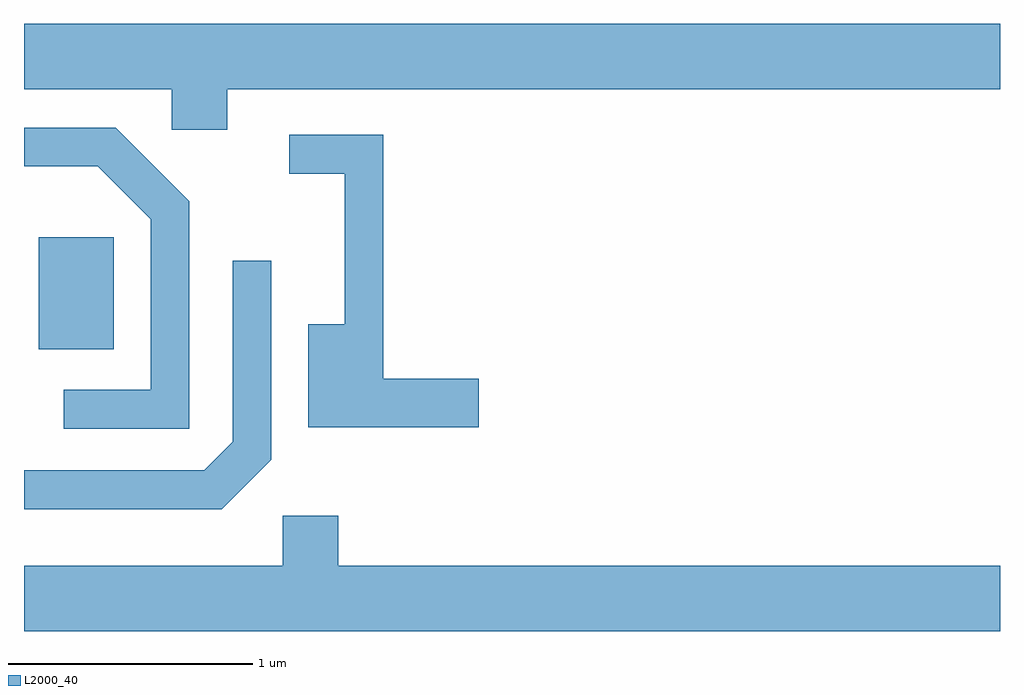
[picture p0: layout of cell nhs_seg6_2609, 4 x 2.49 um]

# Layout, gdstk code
import gdstk
lib = gdstk.Library(unit=1e-6, precision=1e-09)
def R(c, l, rs):  # rectangles x0, y0, x1, y1
    for r in rs: c.add(gdstk.rectangle(r[:2], r[2:], *l))
def P(c, l, *ps):  # polygons
    for p in ps: c.add(gdstk.Polygon(p, *l))
L2000_40 = (2000, 40)

nhs_seg6_2609 = lib.new_cell('nhs_seg6_2609')
R(nhs_seg6_2609, L2000_40, [(263.671,1622.231,263.979,1622.689)])
P(nhs_seg6_2609, L2000_40, [(264.444,1623.296),(267.611,1623.296),(267.611,1623.564),(263.611,1623.564),(263.611,1623.296),(264.216,1623.296),(264.216,1623.131),(264.444,1623.131)],
  [(264.289,1622.837),(263.987,1623.139),(263.611,1623.139),(263.611,1622.981),(263.914,1622.981),(264.131,1622.764),(264.131,1622.064),(263.773,1622.064),(263.773,1621.906),(264.289,1621.906)],
  [(265.474,1622.109),(265.084,1622.109),(265.084,1623.109),(264.698,1623.109),(264.698,1622.951),(264.926,1622.951),(264.926,1622.334),(264.776,1622.334),(264.776,1621.911),(265.474,1621.911)],
  [(264.624,1621.779),(264.624,1622.593),(264.466,1622.593),(264.466,1621.852),(264.349,1621.734),(263.611,1621.734),(263.611,1621.576),(264.422,1621.576)],
  [(267.611,1621.344),(264.899,1621.344),(264.899,1621.549),(264.671,1621.549),(264.671,1621.344),(263.611,1621.344),(263.611,1621.076),(267.611,1621.076)])

lib.write_gds('nhs_seg6_2609.gds')
